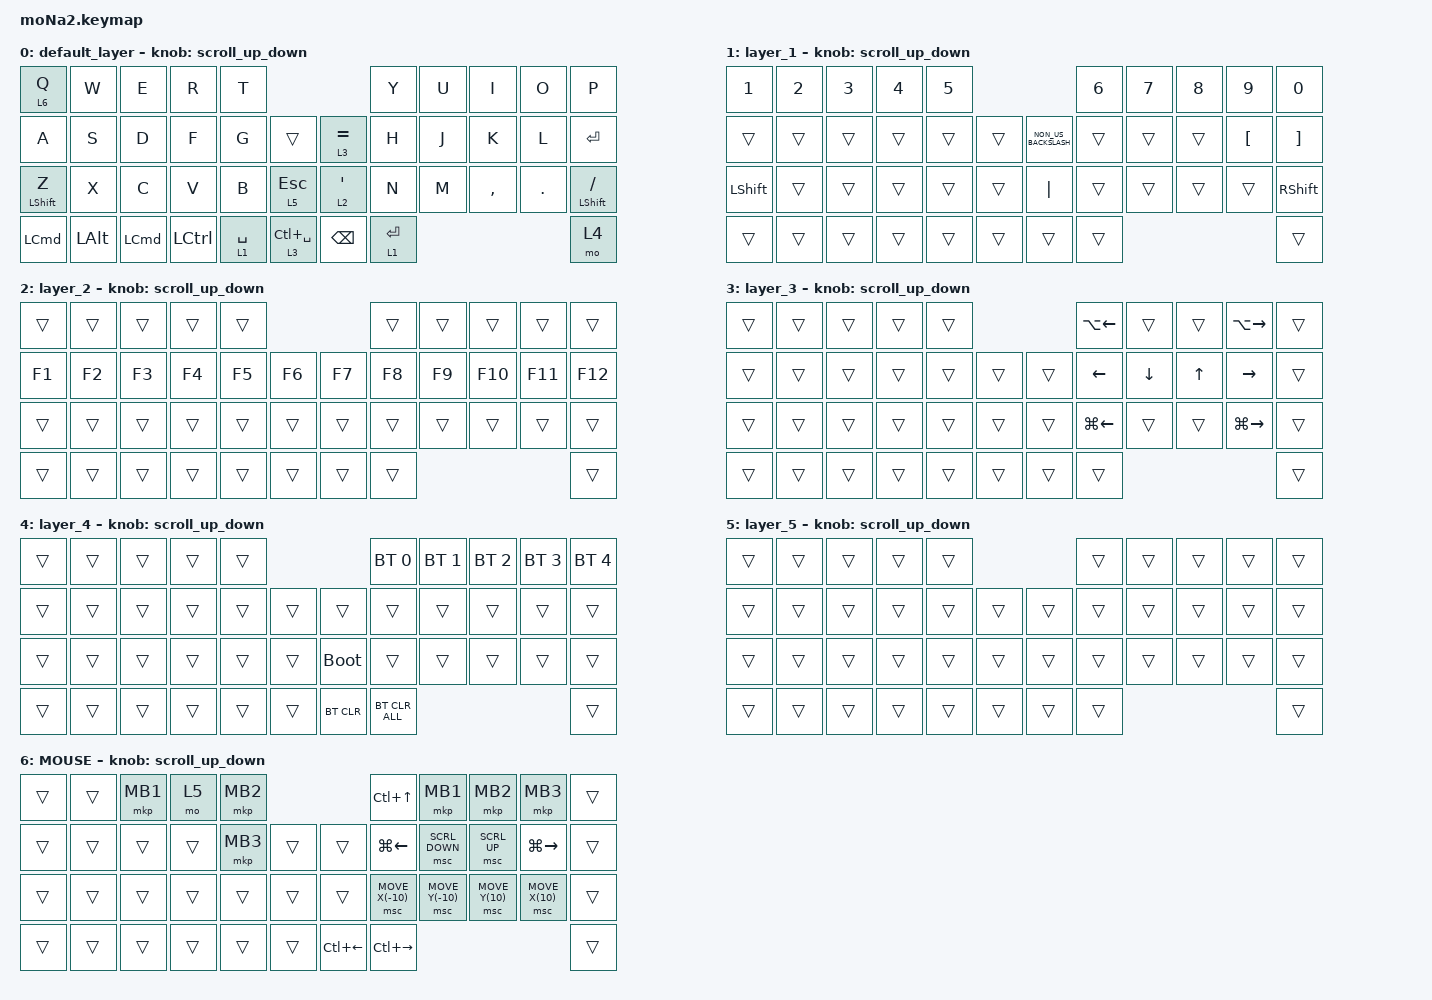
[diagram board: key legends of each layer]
#include <behaviors.dtsi>
#include <dt-bindings/zmk/bt.h>
#include <dt-bindings/zmk/keys.h>
#include <dt-bindings/zmk/pointing.h>
#include <dt-bindings/zmk/pointing.h>

#define ZMK_POINTING_DEFAULT_SCRL_VAL 100
#define MOUSE 6

&mt {
    flavor = "balanced";
    quick-tap-ms = <0>;
    tapping-term-ms = <200>;
};

/ {
    combos {
        compatible = "zmk,combos";

        q_w_tab {
            bindings = <&kp TAB>;
            key-positions = <0 1>;
            timeout-ms = <20>;
        };

        quote {
            bindings = <&kp SQT>;
            key-positions = <20 19>;
            timeout-ms = <20>;
        };

        hyphen {
            bindings = <&kp MINUS>;
            key-positions = <8 9>;
            timeout-ms = <20>;
        };

        backquote {
            bindings = <&kp GRAVE>;
            key-positions = <1 2>;
            timeout-ms = <20>;
        };

        layer5 {
            bindings = <&mo 5>;
            key-positions = <6 9>;
            timeout-ms = <20>;
        };

        layer5_2 {
            bindings = <&mo 5>;
            key-positions = <0 3>;
            timeout-ms = <20>;
        };

        as_control {
            bindings = <&kp LEFT_CONTROL>;
            key-positions = <10 11>;
            timeout-ms = <20>;
        };

        zx_shift {
            bindings = <&kp LEFT_SHIFT>;
            key-positions = <22 23>;
            timeout-ms = <20>;
        };

        mb1 {
            bindings = <&mkp MB1>;
            key-positions = <2 3>;
            timeout-ms = <20>;
        };

        mb2 {
            bindings = <&mkp MB2>;
            key-positions = <3 4>;
            timeout-ms = <20>;
        };

        mb1_r {
            bindings = <&mkp MB1>;
            key-positions = <6 5>;
            timeout-ms = <20>;
        };

        mb2_r {
            bindings = <&mkp MB2>;
            key-positions = <7 6>;
            timeout-ms = <20>;
        };

        zxc_cmd_shift {
            bindings = <&kp LG(LEFT_SHIFT)>;
            key-positions = <22 23 24>;
        };

        rshift {
            bindings = <&kp RIGHT_SHIFT>;
            key-positions = <33 32>;
        };

        rcmd {
            bindings = <&kp RIGHT_GUI>;
            key-positions = <32 31>;
        };

        ap_asc {
            bindings = <&kp ESCAPE>;
            key-positions = <10 9>;
        };

        colon {
            bindings = <&kp SEMICOLON>;
            key-positions = <19 18>;
        };

        right_equal {
            bindings = <&kp EQUAL>;
            key-positions = <8 7>;
        };

        right_cmd_shift {
            bindings = <&kp RG(LEFT_SHIFT)>;
            key-positions = <33 31 32>;
        };
    };

    macros {
        to_layer_0: to_layer_0 {
            compatible = "zmk,behavior-macro-one-param";
            #binding-cells = <1>;
            bindings = <&to 0 &macro_param_1to1 &kp MACRO_PLACEHOLDER>;
            label = "TO_LAYER_0";
        };
    };

    behaviors {
        lt_to_layer_0: lt_to_layer_0 {
            compatible = "zmk,behavior-hold-tap";
            label = "LAYER_TAP_TO_0";
            bindings = <&mo>, <&to_layer_0>;

            #binding-cells = <2>;
            tapping-term-ms = <200>;
        };

        scroll_up_down: behavior_scroll_up_down {
            compatible = "zmk,behavior-sensor-rotate";
            #sensor-binding-cells = <0>;
            bindings = <&msc SCRL_UP>, <&msc SCRL_DOWN>;

            tap-ms = <20>;
            label = "SCROLL_UP_DOWN";
        };
    };

    keymap {
        compatible = "zmk,keymap";

        default_layer {
            bindings = <
&lt 6 Q           &kp W         &kp E             &kp R             &kp T                                          &kp Y        &kp U  &kp I      &kp O    &kp P
&kp A             &kp S         &kp D             &kp F             &kp G        &trans             &lt 3 EQUAL    &kp H        &kp J  &kp K      &kp L    &kp ENTER
&mt LEFT_SHIFT Z  &kp X         &kp C             &kp V             &kp B        &lt 5 ESCAPE       &lt 2 SQT      &kp N        &kp M  &kp COMMA  &kp DOT  &mt LEFT_SHIFT SLASH
&kp LEFT_COMMAND  &kp LEFT_ALT  &kp LEFT_COMMAND  &kp LEFT_CONTROL  &lt 1 SPACE  &lt 3 LC(SPACE)    &kp BACKSPACE  &lt 1 ENTER                             &mo 4
            >;

            sensor-bindings = <&scroll_up_down>;
        };

        layer_1 {
            bindings = <
&kp NUMBER_1    &kp NUMBER_2  &kp NUMBER_3  &kp NUMBER_4  &kp N5                                  &kp NUMBER_6  &kp N7  &kp N8  &kp N9            &kp N0
&trans          &trans        &trans        &trans        &trans  &trans    &kp NON_US_BACKSLASH  &trans        &trans  &trans  &kp LEFT_BRACKET  &kp RIGHT_BRACKET
&kp LEFT_SHIFT  &trans        &trans        &trans        &trans  &trans    &kp PIPE              &trans        &trans  &trans  &trans            &kp RIGHT_SHIFT
&trans          &trans        &trans        &trans        &trans  &trans    &trans                &trans                                          &trans
            >;

            sensor-bindings = <&scroll_up_down>;
        };

        layer_2 {
            bindings = <
&trans  &trans  &trans  &trans  &trans                    &trans  &trans  &trans   &trans   &trans
&kp F1  &kp F2  &kp F3  &kp F4  &kp F5  &kp F6    &kp F7  &kp F8  &kp F9  &kp F10  &kp F11  &kp F12
&trans  &trans  &trans  &trans  &trans  &trans    &trans  &trans  &trans  &trans   &trans   &trans
&trans  &trans  &trans  &trans  &trans  &trans    &trans  &trans                            &trans
            >;

            sensor-bindings = <&scroll_up_down>;
        };

        layer_3 {
            bindings = <
&trans  &trans  &trans  &trans  &trans                    &kp LA(LEFT)  &trans    &trans        &kp LA(RIGHT)  &trans
&trans  &trans  &trans  &trans  &trans  &trans    &trans  &kp LEFT      &kp DOWN  &kp UP_ARROW  &kp RIGHT      &trans
&trans  &trans  &trans  &trans  &trans  &trans    &trans  &kp LG(LEFT)  &trans    &trans        &kp LG(RIGHT)  &trans
&trans  &trans  &trans  &trans  &trans  &trans    &trans  &trans                                               &trans
            >;

            sensor-bindings = <&scroll_up_down>;
        };

        layer_4 {
            bindings = <
&trans  &trans  &trans  &trans  &trans                         &bt BT_SEL 0    &bt BT_SEL 1  &bt BT_SEL 2  &bt BT_SEL 3  &bt BT_SEL 4
&trans  &trans  &trans  &trans  &trans  &trans    &trans       &trans          &trans        &trans        &trans        &trans
&trans  &trans  &trans  &trans  &trans  &trans    &bootloader  &trans          &trans        &trans        &trans        &trans
&trans  &trans  &trans  &trans  &trans  &trans    &bt BT_CLR   &bt BT_CLR_ALL                                            &trans
            >;

            sensor-bindings = <&scroll_up_down>;
        };

        layer_5 {
            bindings = <
&trans  &trans  &trans  &trans  &trans                    &trans  &trans  &trans  &trans  &trans
&trans  &trans  &trans  &trans  &trans  &trans    &trans  &trans  &trans  &trans  &trans  &trans
&trans  &trans  &trans  &trans  &trans  &trans    &trans  &trans  &trans  &trans  &trans  &trans
&trans  &trans  &trans  &trans  &trans  &trans    &trans  &trans                          &trans
            >;

            sensor-bindings = <&scroll_up_down>;
        };

        MOUSE {
            bindings = <
&trans  &trans  &mkp MB1  &mo 5   &mkp MB2                          &kp LC(UP_ARROW)  &mkp MB1          &mkp MB2         &mkp MB3         &trans
&trans  &trans  &trans    &trans  &mkp MB3  &trans    &trans        &kp LG(LEFT)      &msc SCRL_DOWN    &msc SCRL_UP     &kp LG(RIGHT)    &trans
&trans  &trans  &trans    &trans  &trans    &trans    &trans        &msc MOVE_X(-10)  &msc MOVE_Y(-10)  &msc MOVE_Y(10)  &msc MOVE_X(10)  &trans
&trans  &trans  &trans    &trans  &trans    &trans    &kp LC(LEFT)  &kp LC(RIGHT)                                                         &trans
            >;

            sensor-bindings = <&scroll_up_down>;
        };
    };
};
